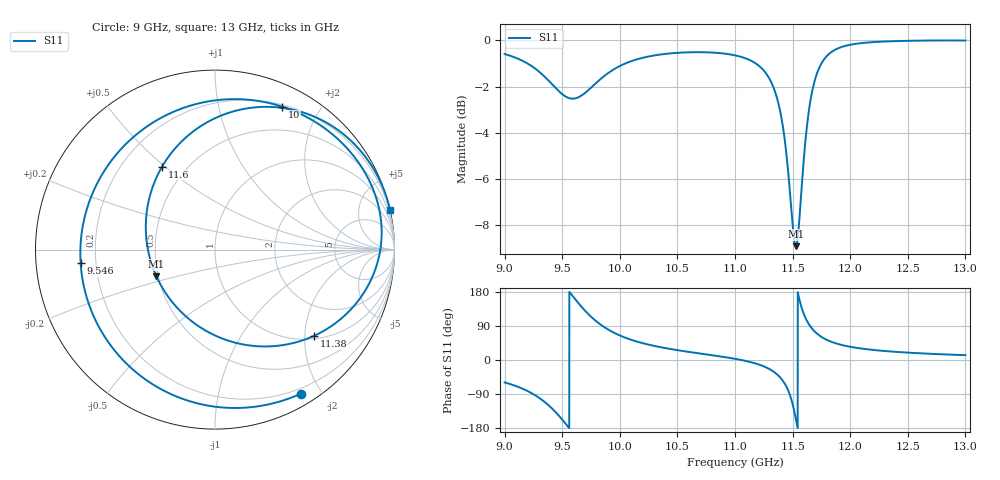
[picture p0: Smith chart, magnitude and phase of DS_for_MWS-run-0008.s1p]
! TOUCHSTONE file generated by CST DESIGN STUDIO
! Date and time: Tue Jan 28 13:35:12 2025
! Project name: C:\Work\MatlabApps\UnitCellOptimizationMatlabNew\CST\unitcell.cst
! Tree item: Tasks\Sweep1\SPara1\S-Parameters
! Header version: 2024
! Port assignment regex: !\s*Touchstone port\s*([0-9]+)\s*=\s*(CST MWS port|CST DES external port|CST DES block port)\s*(.+)\s* \(\"(.*)\"\)(\s*mode\s*([0-9]+))?.*
! Touchstone port assignment:
! Touchstone port 1 = CST DES external port 1 ("")
# GHz S MA R 50
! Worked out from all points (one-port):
!   4001 points, 9 GHz to 13 GHz, reference 50 ohm
!   lowest |S11| = -8.9 dB at 11.53 GHz (marker M1), VSWR 2.12, Z = 24.4 - j8.31 ohm
!   |S11| at or under -10 dB: nowhere
!   S11 on the Smith chart (normalised r, x): 9 GHz: 0.14, -1.75; 9.546 GHz: 0.14, -0.05; 10 GHz: 0.22, +1.56; 11.38 GHz: 1.08, -2.23; 11.6 GHz: 0.37, +0.49; 13 GHz: 0.02, +8.98
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9  0.9345 -59.1
9.155  0.9036 -75.6
9.305  0.8534 -101.0
9.404  0.8076 -125.7
9.5  0.7652 -157.1
9.546  0.7525 -174.1
9.635  0.7523 152.2
9.754  0.7919 113.2
9.859  0.8352 87.9
10  0.8803 64.7
10.213  0.9189 43.3
10.5  0.9401 26.0
11  0.9284 3.2
11.24  0.8661 -15.6
11.316  0.8107 -26.9
11.376  0.7322 -40.9
11.448  0.5624 -71.2
11.5  0.3995 -116.4
11.528  0.3588 -155.6
11.561  0.4172 157.3
11.596  0.5485 122.5
11.644  0.7123 93.3
11.702  0.8346 72.2
11.758  0.8983 59.5
11.823  0.9381 49.6
12  0.9786 34.9
12.5  0.998 19.5
13  0.9994 12.7
